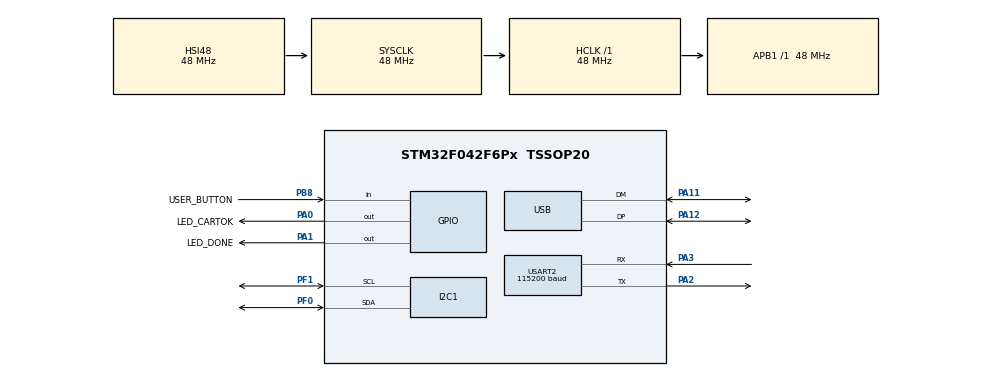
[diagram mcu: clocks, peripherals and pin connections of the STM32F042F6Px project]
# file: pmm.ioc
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IWDG.Prescaler=IWDG_PRESCALER_8
Mcu.Family=STM32F0
Mcu.Name=STM32F042F6Px
Mcu.Package=TSSOP20
NVIC.TIM17_IRQn=true\:0\:0\:false\:false\:true\:true
NVIC.USART2_IRQn=true\:0\:0\:false\:false\:true\:true
NVIC.USB_IRQn=true\:0\:0\:false\:false\:true\:false
PA0.GPIO_Label=LED_CARTOK
PA0.PinState=GPIO_PIN_SET
PA0.Signal=GPIO_Output
PA1.GPIO_Label=LED_DONE
PA1.PinState=GPIO_PIN_SET
PA1.Signal=GPIO_Output
PA11.Mode=Device
PA11.Signal=USB_DM
PA12.Mode=Device
PA12.Signal=USB_DP
PA13.Mode=Serial_Wire
PA13.Signal=SYS_SWDIO
PA14.Mode=Serial_Wire
PA14.Signal=SYS_SWCLK
PA2.Mode=Asynchronous
PA2.Signal=USART2_TX
PA3.Mode=Asynchronous
PA3.Signal=USART2_RX
PB8.GPIO_Label=USER_BUTTON
PB8.Signal=GPIO_Input
PF0-OSC_IN.Mode=I2C
PF0-OSC_IN.Signal=I2C1_SDA
PF1-OSC_OUT.Mode=I2C
PF1-OSC_OUT.Signal=I2C1_SCL
ProjectManager.HeapSize=0x200
ProjectManager.StackSize=0x400
ProjectManager.TargetToolchain=MDK-ARM V5
RCC.AHBFreq_Value=48000000
RCC.APB1Freq_Value=48000000
RCC.APB1TimFreq_Value=48000000
RCC.HCLKFreq_Value=48000000
RCC.SYSCLKFreq_VALUE=48000000
RCC.SYSCLKSource=RCC_SYSCLKSOURCE_HSI48
TIM17.Period=250
TIM17.Prescaler=47999
USART2.BaudRate=115200
USART2.Mode=MODE_TX_RX
USART2.VirtualMode-Asynchronous=VM_ASYNC
USB_DEVICE.CLASS_NAME_FS=CDC
USB_DEVICE.VirtualMode=Cdc
USB_DEVICE.VirtualModeFS=Cdc_FS
VP_IWDG_VS_IWDG.Mode=IWDG_Activate
VP_SYS_VS_PINREMAP.Mode=PINREMAP
VP_TIM17_VS_ClockSourceINT.Mode=Enable_Timer
VP_USB_DEVICE_VS_USB_DEVICE_CDC_FS.Mode=CDC_FS
board=custom

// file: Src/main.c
/**
  ******************************************************************************
  * @file           : main.c
  * @brief          : Main program body
  ******************************************************************************
  * This notice applies to any and all portions of this file
  * that are not between comment pairs USER CODE BEGIN and
  * USER CODE END. Other portions of this file, whether
  * inserted by the user or by software development tools
  * are owned by their respective copyright owners.
  *
  * Copyright (c) 2021 STMicroelectronics International N.V.
  * All rights reserved.
  *
  * Redistribution and use in source and binary forms, with or without
  * modification, are permitted, provided that the following conditions are met:
  *
  * 1. Redistribution of source code must retain the above copyright notice,
  *    this list of conditions and the following disclaimer.
  * 2. Redistributions in binary form must reproduce the above copyright notice,
  *    this list of conditions and the following disclaimer in the documentation
  *    and/or other materials provided with the distribution.
  * 3. Neither the name of STMicroelectronics nor the names of other
  *    contributors to this software may be used to endorse or promote products
  *    derived from this software without specific written permission.
  * 4. This software, including modifications and/or derivative works of this
  *    software, must execute solely and exclusively on microcontroller or
  *    microprocessor devices manufactured by or for STMicroelectronics.
  * 5. Redistribution and use of this software other than as permitted under
  *    this license is void and will automatically terminate your rights under
  *    this license.
  *
  * THIS SOFTWARE IS PROVIDED BY STMICROELECTRONICS AND CONTRIBUTORS "AS IS"
  * AND ANY EXPRESS, IMPLIED OR STATUTORY WARRANTIES, INCLUDING, BUT NOT
  * LIMITED TO, THE IMPLIED WARRANTIES OF MERCHANTABILITY, FITNESS FOR A
  * PARTICULAR PURPOSE AND NON-INFRINGEMENT OF THIRD PARTY INTELLECTUAL PROPERTY
  * RIGHTS ARE DISCLAIMED TO THE FULLEST EXTENT PERMITTED BY LAW. IN NO EVENT
  * SHALL STMICROELECTRONICS OR CONTRIBUTORS BE LIABLE FOR ANY DIRECT, INDIRECT,
  * INCIDENTAL, SPECIAL, EXEMPLARY, OR CONSEQUENTIAL DAMAGES (INCLUDING, BUT NOT
  * LIMITED TO, PROCUREMENT OF SUBSTITUTE GOODS OR SERVICES; LOSS OF USE, DATA,
  * OR PROFITS; OR BUSINESS INTERRUPTION) HOWEVER CAUSED AND ON ANY THEORY OF
  * LIABILITY, WHETHER IN CONTRACT, STRICT LIABILITY, OR TORT (INCLUDING
  * NEGLIGENCE OR OTHERWISE) ARISING IN ANY WAY OUT OF THE USE OF THIS SOFTWARE,
  * EVEN IF ADVISED OF THE POSSIBILITY OF SUCH DAMAGE.
  *
  ******************************************************************************
  */
#include "main.h"
#include "stm32f0xx_hal.h"
#include "usb_device.h"

/* USER CODE BEGIN Includes */
#include <stdio.h>
#include <string.h>
#include "helpers.h"
#include "shared.h"
#include "my_usb.h"
/* USER CODE END Includes */

I2C_HandleTypeDef hi2c1;

IWDG_HandleTypeDef hiwdg;

TIM_HandleTypeDef htim17;

UART_HandleTypeDef huart2;

/* USER CODE BEGIN PV */
/* Private variables ---------------------------------------------------------*/

volatile uint8_t is_done;

/* USER CODE END PV */

void SystemClock_Config(void);
static void MX_GPIO_Init(void);
static void MX_USART2_UART_Init(void);
static void MX_I2C1_Init(void);
static void MX_TIM17_Init(void);
static void MX_IWDG_Init(void);

/* USER CODE BEGIN PFP */
/* Private function prototypes -----------------------------------------------*/

/* USER CODE END PFP */

/* USER CODE BEGIN 0 */
int fputc(int ch, FILE *f)
{
  my_usb_putchar((uint8_t)ch);
  HAL_UART_Transmit(&huart2, (unsigned char *)&ch, 1, 100);
  return ch;
}

void HAL_UART_RxCpltCallback(UART_HandleTypeDef *huart)
{
  //linear_buf_add(&uart_lb, uart_byte_buf[0]);
  // printf("%c", uart_byte_buf[0]);
}

// this happens every 250ms
void HAL_TIM_PeriodElapsedCallback(TIM_HandleTypeDef *htim)
{
  if(is_busy)
    return;
  i2c_scan_result = HAL_I2C_IsDeviceReady(&hi2c1, EEPROM_READ_ADDR, 1, 50);
  // printf("%d\n", i2c_scan_result);
}

/* USER CODE END 0 */

int main(void)
{

  /* MCU Configuration----------------------------------------------------------*/

  /* Reset of all peripherals, Initializes the Flash interface and the Systick. */
  HAL_Init();

  /* Configure the system clock */
  SystemClock_Config();

  /* Initialize all configured peripherals */
  MX_GPIO_Init();
  MX_USART2_UART_Init();
  MX_I2C1_Init();
  MX_USB_DEVICE_Init();
  MX_TIM17_Init();
  MX_IWDG_Init();
  /* USER CODE BEGIN 2 */
  HAL_Delay(500);
  printf("\n\nBob cassette renewer\n");
  printf("dekuNukem 2021\n");
  // linear_buf_init(&uart_lb, 32);
  my_usb_init();
  i2c_scan_result = 1;
  HAL_TIM_Base_Start_IT(&htim17);
  /* USER CODE END 2 */

  /* Infinite loop */
  /* USER CODE BEGIN WHILE */

  while (1)
  {
    if(i2c_scan_result != 2)
      HAL_IWDG_Refresh(&hiwdg);

    parse_cmd(my_usb_readline());

    if(i2c_scan_result == 0) // if cassette is found
    {
      HAL_GPIO_WritePin(LED_CARTOK_GPIO_Port, LED_CARTOK_Pin, GPIO_PIN_RESET); // turn on CART_OK LED
    }
    else // if no cassette detected
    {
      // turn off both CART_OK and DONE LED
      HAL_GPIO_WritePin(LED_CARTOK_GPIO_Port, LED_CARTOK_Pin, GPIO_PIN_SET);
      HAL_GPIO_WritePin(LED_DONE_GPIO_Port, LED_DONE_Pin, GPIO_PIN_SET);
      is_done = 0;
    }

    uint8_t button_result = HAL_GPIO_ReadPin(USER_BUTTON_GPIO_Port, USER_BUTTON_Pin);

    if(i2c_scan_result == 0 && button_result == 1 && is_done == 0)
    {
      // change the byte here
      printf("done!\n");
      HAL_GPIO_WritePin(LED_DONE_GPIO_Port, LED_DONE_Pin, GPIO_PIN_RESET);
      is_done = 1;
    }

  /* USER CODE END WHILE */

  }

}

void SystemClock_Config(void)
{

  RCC_OscInitTypeDef RCC_OscInitStruct;
  RCC_ClkInitTypeDef RCC_ClkInitStruct;
  RCC_PeriphCLKInitTypeDef PeriphClkInit;

    /**Initializes the CPU, AHB and APB busses clocks
    */
  RCC_OscInitStruct.OscillatorType = RCC_OSCILLATORTYPE_HSI|RCC_OSCILLATORTYPE_HSI48
                              |RCC_OSCILLATORTYPE_LSI;
  RCC_OscInitStruct.HSIState = RCC_HSI_ON;
  RCC_OscInitStruct.HSI48State = RCC_HSI48_ON;
  RCC_OscInitStruct.HSICalibrationValue = 16;
  RCC_OscInitStruct.LSIState = RCC_LSI_ON;
  RCC_OscInitStruct.PLL.PLLState = RCC_PLL_NONE;
  if (HAL_RCC_OscConfig(&RCC_OscInitStruct) != HAL_OK)
  {
    _Error_Handler(__FILE__, __LINE__);
  }

    /**Initializes the CPU, AHB and APB busses clocks
    */
  RCC_ClkInitStruct.ClockType = RCC_CLOCKTYPE_HCLK|RCC_CLOCKTYPE_SYSCLK
                              |RCC_CLOCKTYPE_PCLK1;
  RCC_ClkInitStruct.SYSCLKSource = RCC_SYSCLKSOURCE_HSI48;
  RCC_ClkInitStruct.AHBCLKDivider = RCC_SYSCLK_DIV1;
  RCC_ClkInitStruct.APB1CLKDivider = RCC_HCLK_DIV1;

  if (HAL_RCC_ClockConfig(&RCC_ClkInitStruct, FLASH_LATENCY_1) != HAL_OK)
  {
    _Error_Handler(__FILE__, __LINE__);
  }

  PeriphClkInit.PeriphClockSelection = RCC_PERIPHCLK_USB|RCC_PERIPHCLK_I2C1;
  PeriphClkInit.I2c1ClockSelection = RCC_I2C1CLKSOURCE_HSI;
  PeriphClkInit.UsbClockSelection = RCC_USBCLKSOURCE_HSI48;

  if (HAL_RCCEx_PeriphCLKConfig(&PeriphClkInit) != HAL_OK)
  {
    _Error_Handler(__FILE__, __LINE__);
  }

    /**Configure the Systick interrupt time
    */
  HAL_SYSTICK_Config(HAL_RCC_GetHCLKFreq()/1000);

    /**Configure the Systick
    */
  HAL_SYSTICK_CLKSourceConfig(SYSTICK_CLKSOURCE_HCLK);

  /* SysTick_IRQn interrupt configuration */
  HAL_NVIC_SetPriority(SysTick_IRQn, 0, 0);
}

/* I2C1 init function */
static void MX_I2C1_Init(void)
{

  hi2c1.Instance = I2C1;
  hi2c1.Init.Timing = 0x2000090E;
  hi2c1.Init.OwnAddress1 = 0;
  hi2c1.Init.AddressingMode = I2C_ADDRESSINGMODE_7BIT;
  hi2c1.Init.DualAddressMode = I2C_DUALADDRESS_DISABLE;
  hi2c1.Init.OwnAddress2 = 0;
  hi2c1.Init.OwnAddress2Masks = I2C_OA2_NOMASK;
  hi2c1.Init.GeneralCallMode = I2C_GENERALCALL_DISABLE;
  hi2c1.Init.NoStretchMode = I2C_NOSTRETCH_DISABLE;
  if (HAL_I2C_Init(&hi2c1) != HAL_OK)
  {
    _Error_Handler(__FILE__, __LINE__);
  }

    /**Configure Analogue filter
    */
  if (HAL_I2CEx_ConfigAnalogFilter(&hi2c1, I2C_ANALOGFILTER_ENABLE) != HAL_OK)
  {
    _Error_Handler(__FILE__, __LINE__);
  }

    /**Configure Digital filter
    */
  if (HAL_I2CEx_ConfigDigitalFilter(&hi2c1, 0) != HAL_OK)
  {
    _Error_Handler(__FILE__, __LINE__);
  }

}

/* IWDG init function */
static void MX_IWDG_Init(void)
{

  hiwdg.Instance = IWDG;
  hiwdg.Init.Prescaler = IWDG_PRESCALER_8;
  hiwdg.Init.Window = 4095;
  hiwdg.Init.Reload = 4095;
  if (HAL_IWDG_Init(&hiwdg) != HAL_OK)
  {
    _Error_Handler(__FILE__, __LINE__);
  }

}

/* TIM17 init function */
static void MX_TIM17_Init(void)
{

  htim17.Instance = TIM17;
  htim17.Init.Prescaler = 47999;
  htim17.Init.CounterMode = TIM_COUNTERMODE_UP;
  htim17.Init.Period = 250;
  htim17.Init.ClockDivision = TIM_CLOCKDIVISION_DIV1;
  htim17.Init.RepetitionCounter = 0;
  htim17.Init.AutoReloadPreload = TIM_AUTORELOAD_PRELOAD_DISABLE;
  if (HAL_TIM_Base_Init(&htim17) != HAL_OK)
  {
    _Error_Handler(__FILE__, __LINE__);
  }

}

/* USART2 init function */
static void MX_USART2_UART_Init(void)
{

  huart2.Instance = USART2;
  huart2.Init.BaudRate = 115200;
  huart2.Init.WordLength = UART_WORDLENGTH_8B;
  huart2.Init.StopBits = UART_STOPBITS_1;
  huart2.Init.Parity = UART_PARITY_NONE;
  huart2.Init.Mode = UART_MODE_TX_RX;
  huart2.Init.HwFlowCtl = UART_HWCONTROL_NONE;
  huart2.Init.OverSampling = UART_OVERSAMPLING_16;
  huart2.Init.OneBitSampling = UART_ONE_BIT_SAMPLE_DISABLE;
  huart2.AdvancedInit.AdvFeatureInit = UART_ADVFEATURE_NO_INIT;
  if (HAL_UART_Init(&huart2) != HAL_OK)
  {
    _Error_Handler(__FILE__, __LINE__);
  }

}

/** Configure pins as
        * Analog
        * Input
        * Output
        * EVENT_OUT
        * EXTI
*/
static void MX_GPIO_Init(void)
{

  GPIO_InitTypeDef GPIO_InitStruct;

  /* GPIO Ports Clock Enable */
  __HAL_RCC_GPIOB_CLK_ENABLE();
  __HAL_RCC_GPIOF_CLK_ENABLE();
  __HAL_RCC_GPIOA_CLK_ENABLE();

  /*Configure GPIO pin Output Level */
  HAL_GPIO_WritePin(GPIOA, LED_CARTOK_Pin|LED_DONE_Pin, GPIO_PIN_SET);

  /*Configure GPIO pin : USER_BUTTON_Pin */
  GPIO_InitStruct.Pin = USER_BUTTON_Pin;
  GPIO_InitStruct.Mode = GPIO_MODE_INPUT;
  GPIO_InitStruct.Pull = GPIO_NOPULL;
  HAL_GPIO_Init(USER_BUTTON_GPIO_Port, &GPIO_InitStruct);

  /*Configure GPIO pins : LED_CARTOK_Pin LED_DONE_Pin */
  GPIO_InitStruct.Pin = LED_CARTOK_Pin|LED_DONE_Pin;
  GPIO_InitStruct.Mode = GPIO_MODE_OUTPUT_PP;
  GPIO_InitStruct.Pull = GPIO_NOPULL;
  GPIO_InitStruct.Speed = GPIO_SPEED_FREQ_LOW;
  HAL_GPIO_Init(GPIOA, &GPIO_InitStruct);

}

void _Error_Handler(char *file, int line)
{
  while(1)
  {
  }
}

/************************ (C) COPYRIGHT STMicroelectronics *****END OF FILE****/
